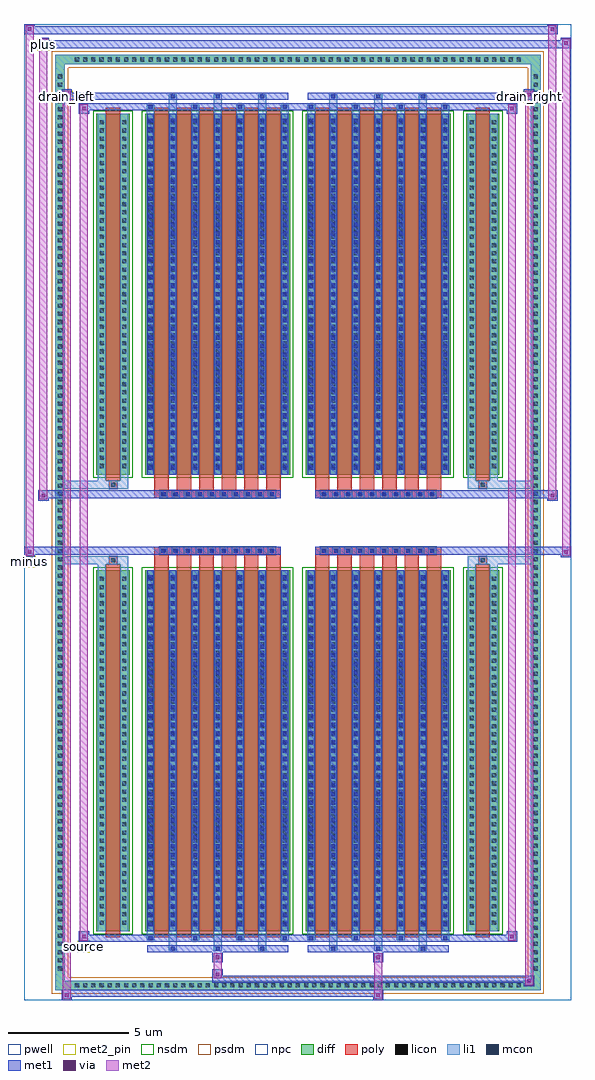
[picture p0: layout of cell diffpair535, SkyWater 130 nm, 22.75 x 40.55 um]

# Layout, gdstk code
import gdstk
lib = gdstk.Library(unit=1e-6, precision=5e-09)
def R(c, l, rs):  # rectangles x0, y0, x1, y1
    for r in rs: c.add(gdstk.rectangle(r[:2], r[2:], *l))
def A(c, l, x, y, w, h, nx, ny, dx, dy):  # array of equal rectangles
    R(c, l, [(x+i*dx, y+j*dy, x+i*dx+w, y+j*dy+h) for i in range(nx) for j in range(ny)])
def P(c, l, *ps):  # polygons
    for p in ps: c.add(gdstk.Polygon(p, *l))
pwell = (64, 44)
diff = (65, 20)
poly = (66, 20)
licon = (66, 44)
li1 = (67, 20)
mcon = (67, 44)
met1 = (68, 20)
via = (68, 44)
met2_pin = (69, 16)
met2 = (69, 20)
nsdm = (93, 44)
psdm = (94, 20)
npc = (95, 20)

diffpair535 = lib.new_cell('diffpair535')
R(diffpair535, pwell, [(-11.36,-19.84,11.36,20.71), (-8.68,-18.03,-0.01,-0.805), (0.01,-18.03,8.68,-0.805), (-8.68,0.805,-0.01,18.03), (0.01,0.805,8.68,18.03)])
A(diffpair535, diff, -9.385, -19.44, 0.41, 0.41, 55, 2, 0.34, 38.47)
A(diffpair535, diff, -10.09, -18.735, 0.41, 0.41, 1, 110, 0, 0.34)
A(diffpair535, diff, 9.68, -18.735, 0.41, 0.41, 1, 110, 0, 0.34)
R(diffpair535, diff, [(-9.385,-19.44,9.385,-19.03), (-10.09,-18.735,-9.68,18.735), (9.68,-18.735,10.09,18.735), (-8.37,-16.985,-6.99,-1.985), (-6.35,-16.985,-0.32,-1.985), (0.32,-16.985,6.35,-1.985), (6.99,-16.985,8.37,-1.985), (-8.37,1.985,-6.99,16.985), (-6.35,1.985,-0.32,16.985), (0.32,1.985,6.35,16.985), (6.99,1.985,8.37,16.985), (-9.385,19.03,9.385,19.44)])
P(diffpair535, diff, [(10.09,19.44),(-10.09,19.44),(-10.09,-19.03),(-9.68,-19.03),(-9.68,19.03),(9.68,19.03),(9.68,-19.03),(-9.68,-19.03),(-10.09,-19.03),(-10.09,-19.44),(10.09,-19.44)])
A(diffpair535, poly, -5.96, -17.235, 0.6, 15.5, 6, 2, 0.93, 18.97)
A(diffpair535, poly, 0.71, -17.235, 0.6, 15.5, 6, 2, 0.93, 18.97)
A(diffpair535, poly, -5.96, -1.735, 0.6, 0.4, 6, 2, 0.93, 3.07)
A(diffpair535, poly, 0.71, -1.735, 0.6, 0.4, 6, 2, 0.93, 3.07)
A(diffpair535, poly, -5.75, -1.335, 0.33, 0.33, 10, 2, 0.5, 2.34)
A(diffpair535, poly, 0.92, -1.335, 0.33, 0.33, 10, 2, 0.5, 2.34)
R(diffpair535, poly, [(-7.98,-17.235,-7.38,-1.735), (7.38,-17.235,7.98,-1.735), (-7.845,-1.735,-7.515,-1.405), (-7.845,-1.735,-7.515,-1.405), (7.515,-1.735,7.845,-1.405), (7.515,-1.735,7.845,-1.405), (-5.96,-1.335,-0.71,-1.005), (0.71,-1.335,5.96,-1.005), (-5.96,1.005,-0.71,1.335), (0.71,1.005,5.96,1.335), (-7.845,1.405,-7.515,1.735), (-7.845,1.405,-7.515,1.735), (7.515,1.405,7.845,1.735), (7.515,1.405,7.845,1.735), (-7.98,1.735,-7.38,17.235), (7.38,1.735,7.98,17.235)])
A(diffpair535, licon, -9.265, -19.32, 0.17, 0.17, 55, 2, 0.34, 38.47)
A(diffpair535, licon, -9.97, -18.615, 0.17, 0.17, 1, 110, 0, 0.34)
A(diffpair535, licon, 9.8, -18.615, 0.17, 0.17, 1, 110, 0, 0.34)
A(diffpair535, licon, -8.23, -16.71, 0.17, 0.17, 1, 43, 0, 0.34)
A(diffpair535, licon, -7.3, -16.71, 0.17, 0.17, 1, 43, 0, 0.34)
A(diffpair535, licon, -6.21, -16.71, 0.17, 0.17, 7, 43, 0.93, 0.34)
A(diffpair535, licon, 0.46, -16.71, 0.17, 0.17, 7, 43, 0.93, 0.34)
A(diffpair535, licon, 7.13, -16.71, 0.17, 0.17, 1, 43, 0, 0.34)
A(diffpair535, licon, 8.06, -16.71, 0.17, 0.17, 1, 43, 0, 0.34)
A(diffpair535, licon, -5.67, -1.255, 0.17, 0.17, 10, 2, 0.5, 2.34)
A(diffpair535, licon, 1, -1.255, 0.17, 0.17, 10, 2, 0.5, 2.34)
A(diffpair535, licon, -8.23, 2.26, 0.17, 0.17, 1, 43, 0, 0.34)
A(diffpair535, licon, -7.3, 2.26, 0.17, 0.17, 1, 43, 0, 0.34)
A(diffpair535, licon, -6.21, 2.26, 0.17, 0.17, 7, 43, 0.93, 0.34)
A(diffpair535, licon, 0.46, 2.26, 0.17, 0.17, 7, 43, 0.93, 0.34)
A(diffpair535, licon, 7.13, 2.26, 0.17, 0.17, 1, 43, 0, 0.34)
A(diffpair535, licon, 8.06, 2.26, 0.17, 0.17, 1, 43, 0, 0.34)
R(diffpair535, licon, [(-7.765,-1.655,-7.595,-1.485), (7.595,-1.655,7.765,-1.485), (-7.765,1.485,-7.595,1.655), (7.595,1.485,7.765,1.655)])
A(diffpair535, li1, -9.345, -19.4, 0.33, 0.33, 55, 2, 0.34, 38.47)
A(diffpair535, li1, -10.05, -18.695, 0.33, 0.33, 1, 110, 0, 0.34)
A(diffpair535, li1, 9.72, -18.695, 0.33, 0.33, 1, 110, 0, 0.34)
A(diffpair535, li1, -5.36, -17.79, 0.33, 0.805, 3, 2, 1.86, 34.775)
A(diffpair535, li1, -5.28, -17.79, 0.17, 0.17, 3, 2, 1.86, 35.41)
A(diffpair535, li1, 1.31, -17.79, 0.33, 0.805, 3, 2, 1.86, 34.775)
A(diffpair535, li1, 1.39, -17.79, 0.17, 0.17, 3, 2, 1.86, 35.41)
A(diffpair535, li1, -6.29, -17.36, 0.33, 0.375, 4, 2, 1.86, 34.345)
A(diffpair535, li1, -6.21, -17.36, 0.17, 0.17, 4, 2, 1.86, 34.55)
A(diffpair535, li1, 0.38, -17.36, 0.33, 0.375, 4, 2, 1.86, 34.345)
A(diffpair535, li1, 0.46, -17.36, 0.17, 0.17, 4, 2, 1.86, 34.55)
A(diffpair535, li1, -6.29, -16.985, 0.33, 15, 7, 2, 0.93, 18.97)
A(diffpair535, li1, 0.38, -16.985, 0.33, 15, 7, 2, 0.93, 18.97)
A(diffpair535, li1, -8.31, -16.79, 0.33, 0.33, 1, 43, 0, 0.34)
A(diffpair535, li1, -7.38, -16.79, 0.33, 0.33, 1, 43, 0, 0.34)
A(diffpair535, li1, -6.29, -16.79, 0.33, 0.33, 7, 43, 0.93, 0.34)
A(diffpair535, li1, 0.38, -16.79, 0.33, 0.33, 7, 43, 0.93, 0.34)
A(diffpair535, li1, 7.05, -16.79, 0.33, 0.33, 1, 43, 0, 0.34)
A(diffpair535, li1, 7.98, -16.79, 0.33, 0.33, 1, 43, 0, 0.34)
A(diffpair535, li1, -6.21, -16.77, 0.17, 0.17, 7, 41, 0.93, 0.36)
A(diffpair535, li1, -6.21, -16.77, 0.17, 14.57, 7, 2, 0.93, 18.97)
A(diffpair535, li1, 0.46, -16.77, 0.17, 0.17, 7, 41, 0.93, 0.36)
A(diffpair535, li1, 0.46, -16.77, 0.17, 14.57, 7, 2, 0.93, 18.97)
A(diffpair535, li1, -5.75, -1.335, 0.33, 0.33, 10, 2, 0.5, 2.34)
A(diffpair535, li1, 0.92, -1.335, 0.33, 0.33, 10, 2, 0.5, 2.34)
A(diffpair535, li1, -8.31, 2.18, 0.33, 0.33, 1, 43, 0, 0.34)
A(diffpair535, li1, -7.38, 2.18, 0.33, 0.33, 1, 43, 0, 0.34)
A(diffpair535, li1, -6.29, 2.18, 0.33, 0.33, 7, 43, 0.93, 0.34)
A(diffpair535, li1, 0.38, 2.18, 0.33, 0.33, 7, 43, 0.93, 0.34)
A(diffpair535, li1, 7.05, 2.18, 0.33, 0.33, 1, 43, 0, 0.34)
A(diffpair535, li1, 7.98, 2.18, 0.33, 0.33, 1, 43, 0, 0.34)
A(diffpair535, li1, -6.21, 2.2, 0.17, 0.17, 7, 41, 0.93, 0.36)
A(diffpair535, li1, 0.46, 2.2, 0.17, 0.17, 7, 41, 0.93, 0.36)
R(diffpair535, li1, [(-10.09,-19.44,-9.68,-19.03), (-10.09,-19.44,-9.68,-19.03), (-9.68,-19.44,9.68,-19.03), (9.68,-19.44,10.09,-19.03), (9.68,-19.44,10.09,-19.03), (-10.09,-19.03,-9.68,19.03), (9.68,-19.03,10.09,19.03), (-8.31,-16.985,-7.98,-1.985), (-7.38,-16.985,-7.05,-1.985), (7.05,-16.985,7.38,-1.985), (7.98,-16.985,8.31,-1.985), (-8.31,-1.985,-7.98,-1.405), (-7.38,-1.985,-7.05,-1.405), (7.05,-1.985,7.38,-1.405), (7.98,-1.985,8.31,-1.405), (-10.09,-1.735,-7.845,-1.405), (-8.31,-1.735,-7.845,-1.405), (-7.845,-1.735,-7.515,-1.405), (-7.515,-1.735,-7.05,-1.405), (7.05,-1.735,7.515,-1.405), (7.515,-1.735,7.845,-1.405), (7.515,-1.735,10.09,-1.405), (7.845,-1.735,8.31,-1.405), (-10.09,1.405,-7.845,1.735), (-8.31,1.405,-7.845,1.735), (-8.31,1.405,-7.98,1.985), (-7.845,1.405,-7.515,1.735), (-7.515,1.405,-7.05,1.735), (-7.38,1.405,-7.05,1.985), (7.05,1.405,7.515,1.735), (7.05,1.405,7.38,1.985), (7.515,1.405,7.845,1.735), (7.515,1.405,10.09,1.735), (7.845,1.405,8.31,1.735), (7.98,1.405,8.31,1.985), (-8.31,1.985,-7.98,16.985), (-7.38,1.985,-7.05,16.985), (7.05,1.985,7.38,16.985), (7.98,1.985,8.31,16.985), (-10.09,19.03,-9.68,19.44), (-10.09,19.03,-9.68,19.44), (-9.68,19.03,9.68,19.44), (9.68,19.03,10.09,19.44), (9.68,19.03,10.09,19.44)])
A(diffpair535, mcon, -5.28, -17.79, 0.17, 0.17, 3, 2, 1.86, 35.41)
A(diffpair535, mcon, 1.39, -17.79, 0.17, 0.17, 3, 2, 1.86, 35.41)
A(diffpair535, mcon, -6.21, -17.36, 0.17, 0.17, 4, 2, 1.86, 34.55)
A(diffpair535, mcon, 0.46, -17.36, 0.17, 0.17, 4, 2, 1.86, 34.55)
A(diffpair535, mcon, -6.21, -16.77, 0.17, 0.17, 7, 41, 0.93, 0.36)
A(diffpair535, mcon, 0.46, -16.77, 0.17, 0.17, 7, 41, 0.93, 0.36)
A(diffpair535, mcon, -5.67, -1.255, 0.17, 0.17, 10, 2, 0.5, 2.34)
A(diffpair535, mcon, 1, -1.255, 0.17, 0.17, 10, 2, 0.5, 2.34)
A(diffpair535, mcon, -6.21, 2.2, 0.17, 0.17, 7, 41, 0.93, 0.36)
A(diffpair535, mcon, 0.46, 2.2, 0.17, 0.17, 7, 41, 0.93, 0.36)
A(diffpair535, met1, -5.34, -17.85, 0.29, 0.29, 3, 2, 1.86, 35.41)
A(diffpair535, met1, 1.33, -17.85, 0.29, 0.29, 3, 2, 1.86, 35.41)
A(diffpair535, met1, -6.27, -17.42, 0.29, 0.29, 4, 2, 1.86, 34.55)
A(diffpair535, met1, 0.4, -17.42, 0.29, 0.29, 4, 2, 1.86, 34.55)
A(diffpair535, met1, -6.27, -16.985, 0.29, 15, 7, 2, 0.93, 18.97)
A(diffpair535, met1, 0.4, -16.985, 0.29, 15, 7, 2, 0.93, 18.97)
A(diffpair535, met1, -6.27, -16.83, 0.29, 0.29, 7, 41, 0.93, 0.36)
A(diffpair535, met1, 0.4, -16.83, 0.29, 0.29, 7, 41, 0.93, 0.36)
A(diffpair535, met1, -5.73, -1.315, 0.29, 0.29, 10, 2, 0.5, 2.34)
A(diffpair535, met1, 0.94, -1.315, 0.29, 0.29, 10, 2, 0.5, 2.34)
A(diffpair535, met1, -6.27, 2.14, 0.29, 0.29, 7, 41, 0.93, 0.36)
A(diffpair535, met1, 0.4, 2.14, 0.29, 0.29, 7, 41, 0.93, 0.36)
R(diffpair535, met1, [(-9.82,-19.84,-9.39,-19.41), (3.12,-19.84,3.55,-19.41), (-9.82,-19.7,3.55,-19.41), (9.39,-19.27,9.82,-18.84), (-3.55,-19.13,9.82,-18.84), (-3.55,-18.99,-3.12,-18.56), (-3.55,-18.28,-3.12,-17.85), (3.12,-18.28,3.55,-17.85), (-6.27,-17.85,-0.4,-17.56), (0.4,-17.85,6.27,-17.56), (-9.11,-17.42,-8.68,-16.99), (-9.11,-17.42,-6.27,-17.13), (-6.27,-17.42,-0.4,-17.13), (-0.4,-17.42,0.4,-17.13), (0.4,-17.42,6.27,-17.13), (6.27,-17.42,9.11,-17.13), (8.68,-17.42,9.11,-16.99), (-11.36,-1.435,-10.93,-1.005), (10.93,-1.435,11.36,-1.005), (-11.36,-1.335,-0.71,-1.005), (-5.96,-1.335,-0.71,-1.005), (0.71,-1.335,5.96,-1.005), (0.71,-1.335,11.36,-1.005), (-10.79,0.905,-10.36,1.335), (10.36,0.905,10.79,1.335), (-10.79,1.005,-5.96,1.335), (-5.96,1.005,-0.71,1.335), (0.71,1.005,5.96,1.335), (5.96,1.005,10.79,1.335), (-9.11,16.99,-8.68,17.42), (8.68,16.99,9.11,17.42), (-9.11,17.13,-6.27,17.42), (-6.27,17.13,-0.4,17.42), (-0.4,17.13,0.4,17.42), (0.4,17.13,6.27,17.42), (6.27,17.13,9.11,17.42), (-9.82,17.56,-9.39,17.99), (-9.82,17.56,-6.27,17.85), (-6.27,17.56,-0.4,17.85), (0.4,17.56,6.27,17.85), (6.27,17.56,9.82,17.85), (9.39,17.56,9.82,17.99), (-10.79,19.71,-10.36,20.14), (-10.79,19.71,-8.68,20.04), (-8.68,19.71,8.68,20.04), (8.68,19.71,11.36,20.04), (10.93,19.71,11.36,20.14), (-11.36,20.28,-10.93,20.71), (-11.36,20.28,-8.68,20.61), (-8.68,20.28,8.68,20.61), (8.68,20.28,10.79,20.61), (10.36,20.28,10.79,20.71)])
R(diffpair535, via, [(-9.68,-19.7,-9.53,-19.55), (3.26,-19.7,3.41,-19.55), (9.53,-19.13,9.68,-18.98), (-3.41,-18.85,-3.26,-18.7), (-3.41,-18.14,-3.26,-17.99), (3.26,-18.14,3.41,-17.99), (-8.97,-17.28,-8.82,-17.13), (8.82,-17.28,8.97,-17.13), (-11.22,-1.295,-11.07,-1.145), (11.07,-1.295,11.22,-1.145), (-10.65,1.045,-10.5,1.195), (10.5,1.045,10.65,1.195), (-8.97,17.13,-8.82,17.28), (8.82,17.13,8.97,17.28), (-9.68,17.7,-9.53,17.85), (9.53,17.7,9.68,17.85), (-10.65,19.85,-10.5,20), (11.07,19.85,11.22,20), (-11.22,20.42,-11.07,20.57), (10.5,20.42,10.65,20.57)])
R(diffpair535, met2_pin, [(-9.145,-17.87,-8.645,-17.37), (-11.395,-1.885,-10.895,-1.385), (-9.855,17.44,-9.355,17.94), (9.355,17.44,9.855,17.94), (-10.825,19.59,-10.325,20.09)])
R(diffpair535, met2, [(-9.77,-19.79,-9.44,-19.46), (-9.77,-19.79,-9.44,17.94), (3.17,-19.79,3.5,-19.46), (3.17,-19.46,3.5,-18.23), (9.44,-19.22,9.77,-18.89), (9.44,-19.22,9.77,17.94), (-3.5,-18.94,-3.17,-18.61), (-3.5,-18.61,-3.17,-18.23), (-3.5,-18.23,-3.17,-17.9), (3.17,-18.23,3.5,-17.9), (-9.06,-17.37,-8.73,-17.04), (-9.06,-17.37,-8.73,17.37), (8.73,-17.37,9.06,-17.04), (8.73,-17.37,9.06,17.37), (-11.31,-1.385,-10.98,-1.055), (-11.31,-1.385,-10.98,20.66), (10.98,-1.385,11.31,-1.055), (10.98,-1.385,11.31,20.09), (-10.74,0.955,-10.41,1.285), (-10.74,0.955,-10.41,20.09), (10.41,0.955,10.74,1.285), (10.41,0.955,10.74,20.66), (-9.06,17.04,-8.73,17.37), (8.73,17.04,9.06,17.37), (-9.77,17.61,-9.44,17.94), (9.44,17.61,9.77,17.94), (-10.74,19.76,-10.41,20.09), (10.98,19.76,11.31,20.09), (-11.31,20.33,-10.98,20.66), (10.41,20.33,10.74,20.66)])
P(diffpair535, met2, [(11.31,-1.385),(11.31,-1.385),(11.31,-1.055),(11.31,-1.055)],
  [(11.31,19.76),(11.31,19.76),(11.31,20.09),(11.31,20.09)],
  [(-10.98,-1.385),(-10.98,-1.385),(-10.98,-1.055),(-10.98,-1.055)],
  [(-10.98,20.33),(-10.98,20.33),(-10.98,20.66),(-10.98,20.66)],
  [(10.74,0.955),(10.74,0.955),(10.74,1.285),(10.74,1.285)],
  [(10.74,20.33),(10.74,20.33),(10.74,20.66),(10.74,20.66)],
  [(-10.41,0.955),(-10.41,0.955),(-10.41,1.285),(-10.41,1.285)],
  [(-10.41,19.76),(-10.41,19.76),(-10.41,20.09),(-10.41,20.09)],
  [(-9.44,-19.79),(-9.44,-19.79),(-9.44,-19.46),(-9.44,-19.46)],
  [(-9.44,17.61),(-9.44,17.61),(-9.44,17.94),(-9.44,17.94)],
  [(9.77,-19.22),(9.77,-19.22),(9.77,-18.89),(9.77,-18.89)],
  [(9.77,17.61),(9.77,17.61),(9.77,17.94),(9.77,17.94)],
  [(-8.73,-17.37),(-8.73,-17.37),(-8.73,-17.04),(-8.73,-17.04)],
  [(-8.73,17.04),(-8.73,17.04),(-8.73,17.37),(-8.73,17.37)],
  [(9.06,-17.37),(9.06,-17.37),(9.06,-17.04),(9.06,-17.04)],
  [(9.06,17.04),(9.06,17.04),(9.06,17.37),(9.06,17.37)])
R(diffpair535, nsdm, [(-8.5,-17.115,-6.86,-1.855), (-6.48,-17.115,-0.19,-1.855), (0.19,-17.115,6.48,-1.855), (6.86,-17.115,8.5,-1.855), (-8.5,1.855,-6.86,17.115), (-6.48,1.855,-0.19,17.115), (0.19,1.855,6.48,17.115), (6.86,1.855,8.5,17.115)])
P(diffpair535, psdm, [(10.22,19.57),(-10.22,19.57),(-10.22,-18.9),(-9.55,-18.9),(-9.55,18.9),(9.55,18.9),(9.55,-18.9),(-9.55,-18.9),(-10.22,-18.9),(-10.22,-19.57),(10.22,-19.57)])
A(diffpair535, npc, -5.77, -1.355, 0.37, 0.37, 10, 2, 0.5, 2.34)
A(diffpair535, npc, 0.9, -1.355, 0.37, 0.37, 10, 2, 0.5, 2.34)
R(diffpair535, npc, [(-7.865,-1.755,-7.495,-1.385), (7.495,-1.755,7.865,-1.385), (-5.77,-1.355,-4.9,-0.985), (-5.77,-1.355,-4.9,-0.985), (-5.27,-1.355,-4.4,-0.985), (-5.27,-1.355,-4.4,-0.985), (-4.77,-1.355,-3.9,-0.985), (-4.77,-1.355,-3.9,-0.985), (-4.27,-1.355,-3.4,-0.985), (-4.27,-1.355,-3.4,-0.985), (-3.77,-1.355,-2.9,-0.985), (-3.77,-1.355,-2.9,-0.985), (-3.27,-1.355,-2.4,-0.985), (-3.27,-1.355,-2.4,-0.985), (-2.77,-1.355,-1.9,-0.985), (-2.77,-1.355,-1.9,-0.985), (-2.27,-1.355,-1.4,-0.985), (-2.27,-1.355,-1.4,-0.985), (-1.77,-1.355,-0.9,-0.985), (-1.77,-1.355,-0.9,-0.985), (0.9,-1.355,1.77,-0.985), (0.9,-1.355,1.77,-0.985), (1.4,-1.355,2.27,-0.985), (1.4,-1.355,2.27,-0.985), (1.9,-1.355,2.77,-0.985), (1.9,-1.355,2.77,-0.985), (2.4,-1.355,3.27,-0.985), (2.4,-1.355,3.27,-0.985), (2.9,-1.355,3.77,-0.985), (2.9,-1.355,3.77,-0.985), (3.4,-1.355,4.27,-0.985), (3.4,-1.355,4.27,-0.985), (3.9,-1.355,4.77,-0.985), (3.9,-1.355,4.77,-0.985), (4.4,-1.355,5.27,-0.985), (4.4,-1.355,5.27,-0.985), (4.9,-1.355,5.77,-0.985), (4.9,-1.355,5.77,-0.985), (-5.77,0.985,-4.9,1.355), (-5.77,0.985,-4.9,1.355), (-5.27,0.985,-4.4,1.355), (-5.27,0.985,-4.4,1.355), (-4.77,0.985,-3.9,1.355), (-4.77,0.985,-3.9,1.355), (-4.27,0.985,-3.4,1.355), (-4.27,0.985,-3.4,1.355), (-3.77,0.985,-2.9,1.355), (-3.77,0.985,-2.9,1.355), (-3.27,0.985,-2.4,1.355), (-3.27,0.985,-2.4,1.355), (-2.77,0.985,-1.9,1.355), (-2.77,0.985,-1.9,1.355), (-2.27,0.985,-1.4,1.355), (-2.27,0.985,-1.4,1.355), (-1.77,0.985,-0.9,1.355), (-1.77,0.985,-0.9,1.355), (0.9,0.985,1.77,1.355), (0.9,0.985,1.77,1.355), (1.4,0.985,2.27,1.355), (1.4,0.985,2.27,1.355), (1.9,0.985,2.77,1.355), (1.9,0.985,2.77,1.355), (2.4,0.985,3.27,1.355), (2.4,0.985,3.27,1.355), (2.9,0.985,3.77,1.355), (2.9,0.985,3.77,1.355), (3.4,0.985,4.27,1.355), (3.4,0.985,4.27,1.355), (3.9,0.985,4.77,1.355), (3.9,0.985,4.77,1.355), (4.4,0.985,5.27,1.355), (4.4,0.985,5.27,1.355), (4.9,0.985,5.77,1.355), (4.9,0.985,5.77,1.355), (-7.865,1.385,-7.495,1.755), (7.495,1.385,7.865,1.755)])
diffpair535.add(gdstk.Label('minus', (-11.145,-1.635), layer=69, texttype=5))
diffpair535.add(gdstk.Label('drain_right', (9.605,17.69), layer=69, texttype=5))
diffpair535.add(gdstk.Label('drain_left', (-9.605,17.69), layer=69, texttype=5))
diffpair535.add(gdstk.Label('source', (-8.895,-17.62), layer=69, texttype=5))
diffpair535.add(gdstk.Label('plus', (-10.575,19.84), layer=69, texttype=5))

lib.write_gds('diffpair535.gds')
